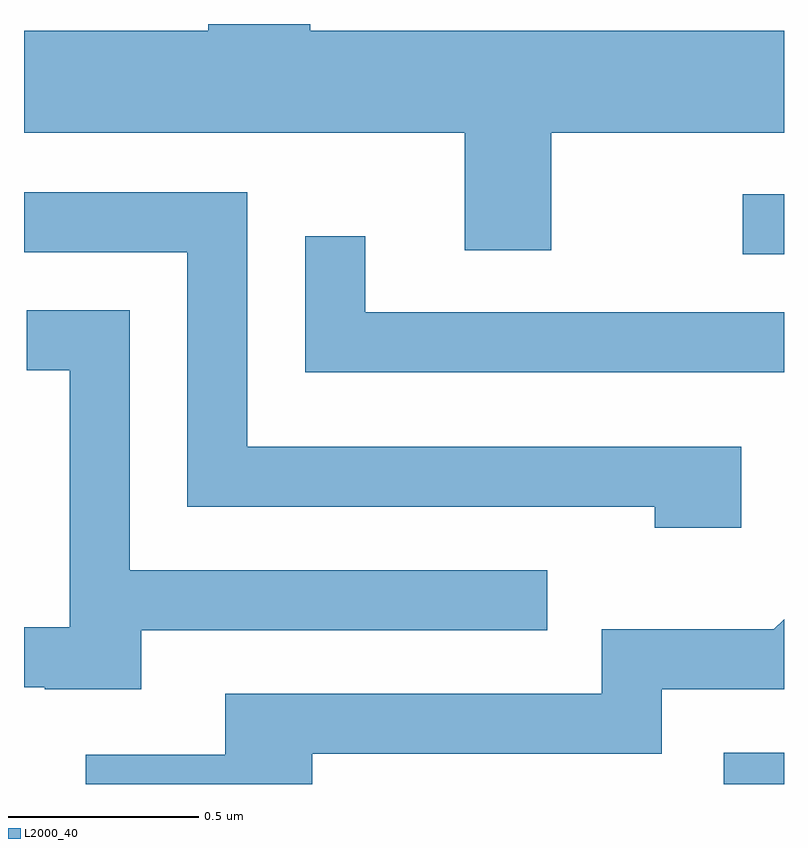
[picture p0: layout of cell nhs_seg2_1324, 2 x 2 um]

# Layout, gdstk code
import gdstk
lib = gdstk.Library(unit=1e-6, precision=1e-09)
def R(c, l, rs):  # rectangles x0, y0, x1, y1
    for r in rs: c.add(gdstk.rectangle(r[:2], r[2:], *l))
def P(c, l, *ps):  # polygons
    for p in ps: c.add(gdstk.Polygon(p, *l))
L2000_40 = (2000, 40)

nhs_seg2_1324 = lib.new_cell('nhs_seg2_1324')
R(nhs_seg2_1324, L2000_40, [(196.453,1068.802,196.611,1068.884), (196.503,1070.196,196.611,1070.354)])
P(nhs_seg2_1324, L2000_40, [(195.999,1070.516),(196.611,1070.516),(196.611,1070.784),(195.364,1070.784),(195.364,1070.802),(195.096,1070.802),(195.096,1070.784),(194.611,1070.784),(194.611,1070.516),(195.771,1070.516),(195.771,1070.206),(195.999,1070.206)],
  [(196.499,1069.689),(195.199,1069.689),(195.199,1070.359),(194.611,1070.359),(194.611,1070.201),(195.041,1070.201),(195.041,1069.531),(196.271,1069.531),(196.271,1069.476),(196.499,1069.476)],
  [(196.611,1070.044),(195.509,1070.044),(195.509,1070.243),(195.351,1070.243),(195.351,1069.886),(196.611,1069.886)],
  [(194.919,1069.206),(195.988,1069.206),(195.988,1069.364),(194.889,1069.364),(194.889,1070.049),(194.618,1070.049),(194.618,1069.891),(194.731,1069.891),(194.731,1069.214),(194.611,1069.214),(194.611,1069.056),(194.665,1069.056),(194.665,1069.051),(194.919,1069.051)],
  [(195.369,1068.881),(196.289,1068.881),(196.289,1069.051),(196.611,1069.051),(196.611,1069.236),(196.584,1069.209),(196.131,1069.209),(196.131,1069.039),(195.141,1069.039),(195.141,1068.879),(194.773,1068.879),(194.773,1068.802),(195.369,1068.802)])

lib.write_gds('nhs_seg2_1324.gds')
